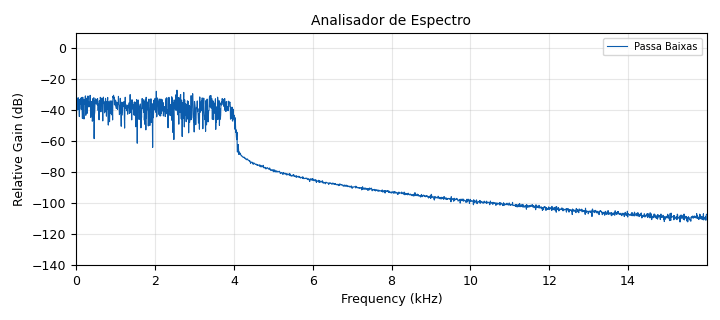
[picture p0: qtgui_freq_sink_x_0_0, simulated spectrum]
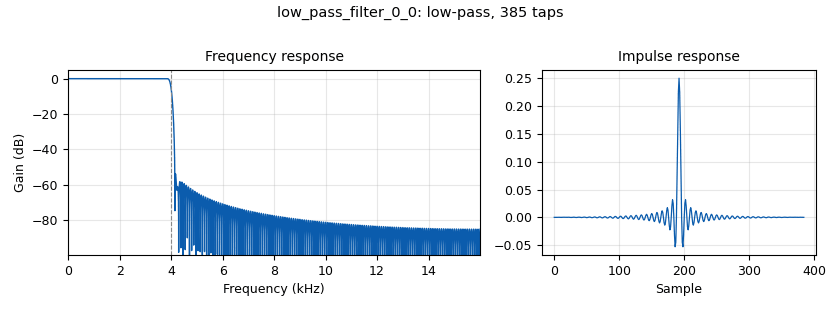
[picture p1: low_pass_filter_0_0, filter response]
options:
  parameters:
    author: pedro
    generate_options: qt_gui
    id: m180108140_Exp01_AR02
    output_language: python
    title: AR02
  states: {}

blocks:
- name: freq
  id: variable_qtgui_range
  parameters:
    gui_hint: (5,1,1,2)
    orient: Qt.Horizontal
    start: '0'
    step: '50'
    stop: '2000'
    value: '1000'
  states: {state: disabled}
- name: samp_rate
  id: variable
  parameters:
    value: '32000'
  states: {}
- name: analog_noise_source_x_0
  id: analog_noise_source_x
  parameters:
    amp: '1'
    noise_type: analog.GR_GAUSSIAN
    seed: '0'
    type: float
  states: {}
- name: analog_noise_source_x_0_0
  id: analog_noise_source_x
  parameters:
    amp: '1'
    noise_type: analog.GR_GAUSSIAN
    seed: '0'
    type: float
  states: {state: disabled}
- name: analog_noise_source_x_0_0_0
  id: analog_noise_source_x
  parameters:
    amp: '1'
    noise_type: analog.GR_GAUSSIAN
    seed: '0'
    type: float
  states: {state: disabled}
- name: analog_noise_source_x_0_1
  id: analog_noise_source_x
  parameters:
    amp: '1'
    noise_type: analog.GR_GAUSSIAN
    seed: '0'
    type: float
  states: {state: disabled}
- name: band_pass_filter_0
  id: band_pass_filter
  parameters:
    decim: '1'
    gain: '1'
    high_cutoff_freq: '8000'
    low_cutoff_freq: '6000'
    samp_rate: samp_rate
    type: fir_filter_fff
    width: '500'
    win: firdes.WIN_HAMMING
  states: {state: disabled}
- name: blocks_rms_xx_0
  id: blocks_rms_xx
  parameters:
    alpha: '0.0001'
    type: float
  states: {state: disabled}
- name: blocks_rms_xx_0_0
  id: blocks_rms_xx
  parameters:
    alpha: '0.0001'
    type: float
  states: {}
- name: blocks_rms_xx_0_0_1
  id: blocks_rms_xx
  parameters:
    alpha: '0.0001'
    type: float
  states: {state: disabled}
- name: blocks_rms_xx_0_0_1_0
  id: blocks_rms_xx
  parameters:
    alpha: '0.0001'
    type: float
  states: {state: disabled}
- name: high_pass_filter_0
  id: high_pass_filter
  parameters:
    cutoff_freq: '10000'
    decim: '1'
    gain: '1'
    samp_rate: samp_rate
    type: fir_filter_fff
    width: '1000'
    win: firdes.WIN_HAMMING
  states: {state: disabled}
- name: low_pass_filter_0_0
  id: low_pass_filter
  parameters:
    cutoff_freq: '4000'
    decim: '1'
    gain: '1'
    samp_rate: samp_rate
    type: fir_filter_fff
    width: '200'
    win: firdes.WIN_HAMMING
  states: {}
- name: qtgui_freq_sink_x_0_0
  id: qtgui_freq_sink_x
  parameters:
    bw: samp_rate
    ctrlpanel: 'True'
    fc: '0'
    fftsize: '4096'
    freqhalf: 'False'
    grid: 'True'
    label1: Passa Baixas
    name: '"Analisador de Espectro"'
    type: float
    wintype: firdes.WIN_RECTANGULAR
  states: {}
- name: qtgui_freq_sink_x_0_0_0
  id: qtgui_freq_sink_x
  parameters:
    bw: samp_rate
    ctrlpanel: 'True'
    fc: '0'
    fftsize: '4096'
    freqhalf: 'False'
    grid: 'True'
    label1: Passa Altas
    name: '"Analisador de Espectro"'
    type: float
    wintype: firdes.WIN_RECTANGULAR
  states: {state: disabled}
- name: qtgui_freq_sink_x_0_0_0_0
  id: qtgui_freq_sink_x
  parameters:
    bw: samp_rate
    ctrlpanel: 'True'
    fc: '0'
    fftsize: '4096'
    freqhalf: 'False'
    grid: 'True'
    label1: Passa-faixas
    name: '"Analisador de Espectro"'
    type: float
    wintype: firdes.WIN_RECTANGULAR
  states: {state: disabled}
- name: qtgui_freq_sink_x_0_0_1
  id: qtgui_freq_sink_x
  parameters:
    bw: samp_rate
    ctrlpanel: 'True'
    fc: '0'
    fftsize: '4096'
    freqhalf: 'False'
    grid: 'True'
    label1: n(t)
    name: '"Analisador de Espectro"'
    type: float
    wintype: firdes.WIN_RECTANGULAR
  states: {state: disabled}
- name: qtgui_number_sink_0
  id: qtgui_number_sink
  parameters:
    graph_type: qtgui.NUM_GRAPH_HORIZ
    label1: RMS=
    max: '3'
    min: '-3'
    type: float
  states: {state: disabled}
- name: qtgui_number_sink_0_0
  id: qtgui_number_sink
  parameters:
    graph_type: qtgui.NUM_GRAPH_HORIZ
    label1: RMS=
    max: '3'
    min: '-3'
    type: float
  states: {}
- name: qtgui_number_sink_0_0_0
  id: qtgui_number_sink
  parameters:
    graph_type: qtgui.NUM_GRAPH_HORIZ
    label1: RMS=
    max: '3'
    min: '-3'
    type: float
  states: {state: disabled}
- name: qtgui_number_sink_0_0_0_0
  id: qtgui_number_sink
  parameters:
    graph_type: qtgui.NUM_GRAPH_HORIZ
    label1: RMS=
    max: '3'
    min: '-3'
    type: float
  states: {state: disabled}

connections:
- [analog_noise_source_x_0, '0', low_pass_filter_0_0, '0']
- [analog_noise_source_x_0_0, '0', high_pass_filter_0, '0']
- [analog_noise_source_x_0_0_0, '0', band_pass_filter_0, '0']
- [analog_noise_source_x_0_1, '0', blocks_rms_xx_0, '0']
- [analog_noise_source_x_0_1, '0', qtgui_freq_sink_x_0_0_1, '0']
- [band_pass_filter_0, '0', blocks_rms_xx_0_0_1_0, '0']
- [band_pass_filter_0, '0', qtgui_freq_sink_x_0_0_0_0, '0']
- [blocks_rms_xx_0, '0', qtgui_number_sink_0, '0']
- [blocks_rms_xx_0_0, '0', qtgui_number_sink_0_0, '0']
- [blocks_rms_xx_0_0_1, '0', qtgui_number_sink_0_0_0, '0']
- [blocks_rms_xx_0_0_1_0, '0', qtgui_number_sink_0_0_0_0, '0']
- [high_pass_filter_0, '0', blocks_rms_xx_0_0_1, '0']
- [high_pass_filter_0, '0', qtgui_freq_sink_x_0_0_0, '0']
- [low_pass_filter_0_0, '0', blocks_rms_xx_0_0, '0']
- [low_pass_filter_0_0, '0', qtgui_freq_sink_x_0_0, '0']

metadata:
  file_format: 1
